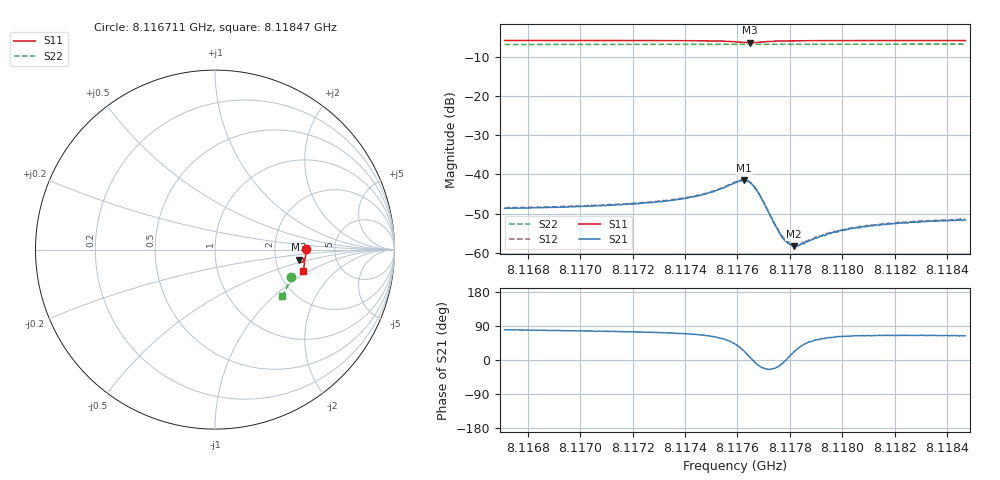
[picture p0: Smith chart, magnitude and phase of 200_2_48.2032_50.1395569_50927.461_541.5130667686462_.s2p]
#  HZ  S  RI  R  50.00
! Rohde & Schwarz Vector Network Analyzer
! Rohde-Schwarz,ZNB20-2Port,1311601062101988,3.16
! Created: UTC 3/20/2024, 11:45:00 AM
! freq[Hz]  re:S11  im:S11  re:S21  im:S21  re:S12  im:S12  re:S22  im:S22
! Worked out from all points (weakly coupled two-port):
!   401 points, 8.116711 GHz to 8.11847 GHz, reference 50 ohm
!   highest |S21| = -41.54 dB at 8.117626 GHz (marker M1); lowest = -58.3 dB at 8.117815 GHz (marker M2)
!   lowest |S11| = -6.5 dB at 8.117648 GHz (marker M3), VSWR 2.79, Z = 136 - j20 ohm
!   |S11| at or under -10 dB: nowhere
!   |S22| runs from -6.9 to -6.8 dB; largest |S21 - S12| = 0.00021
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8.1167112e9  0.5066 0.00514  0.000665 0.00362  0.000703 0.00371  0.4246 -0.1502
8.1170058e9  0.5059 -0.0177  0.000898 0.00381  0.000966 0.00387  0.418 -0.1696
8.1173003e9  0.5033 -0.0418  0.00137 0.00427  0.00144 0.00433  0.4106 -0.1887
8.1173839e9  0.5017 -0.0496  0.00168 0.00452  0.00173 0.0046  0.4083 -0.1943
8.1174586e9  0.4991 -0.0575  0.00217 0.00495  0.00227 0.005  0.4062 -0.199
8.1175333e9  0.4934 -0.0663  0.00342 0.00548  0.00352 0.00554  0.4037 -0.2039
8.1175905e9  0.4821 -0.0711  0.00576 0.00527  0.00593 0.00532  0.4015 -0.2075
8.1176257e9  0.4716 -0.0659  0.00771 0.00327  0.00787 0.00326  0.4001 -0.2092
8.1176477e9  0.4693 -0.057  0.00779 0.000923  0.00794 0.000865  0.3996 -0.2101
8.1176652e9  0.4727 -0.0501  0.00677 -0.000651  0.00691 -0.000751  0.3992 -0.2109
8.1176828e9  0.4786 -0.0466  0.00534 -0.00149  0.00541 -0.00153  0.399 -0.2118
8.1177532e9  0.4945 -0.0533  0.00188 -0.000622  0.00194 -0.000651  0.3977 -0.2165
8.1177708e9  0.4961 -0.056  0.00154 -0.000275  0.0016 -0.000311  0.3971 -0.2177
8.1177971e9  0.4974 -0.0597  0.0013 0.000208  0.00131 0.000192  0.3963 -0.2194
8.1178147e9  0.498 -0.0621  0.00113 0.000439  0.00118 0.000436  0.3958 -0.2206
8.1178323e9  0.4984 -0.0643  0.00105 0.000648  0.0011 0.000672  0.3954 -0.2217
8.1178851e9  0.4988 -0.0702  0.000961 0.00113  0.00098 0.00112  0.3936 -0.2252
8.117951e9  0.4984 -0.0768  0.000885 0.00152  0.000924 0.00154  0.3915 -0.2293
8.1180214e9  0.4978 -0.0831  0.000934 0.00177  0.000949 0.00182  0.3893 -0.2337
8.1181796e9  0.4957 -0.0963  0.000996 0.00211  0.00104 0.00212  0.3837 -0.2434
8.1183027e9  0.4938 -0.1059  0.00105 0.00226  0.0011 0.00233  0.3794 -0.2509
8.1184698e9  0.4909 -0.1185  0.00116 0.00236  0.00119 0.00242  0.3732 -0.2608
